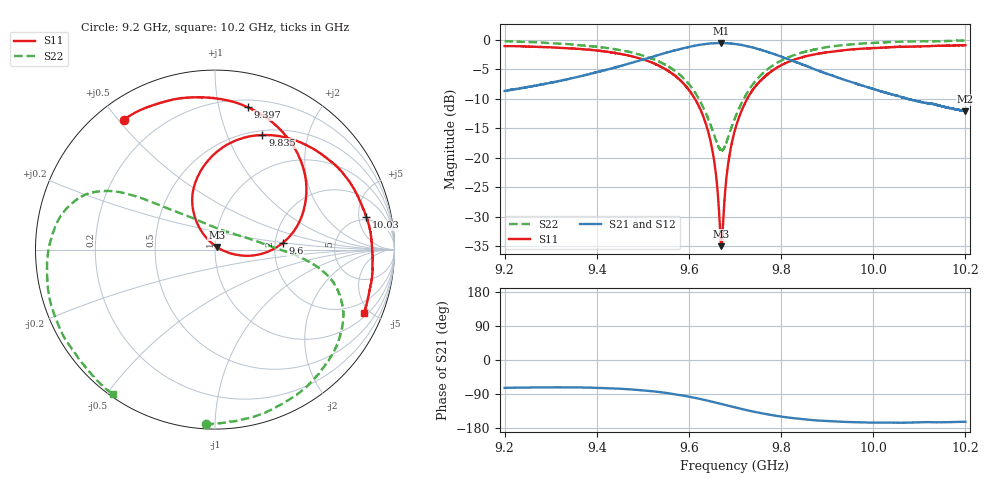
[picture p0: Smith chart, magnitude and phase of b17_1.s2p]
!Agilent Technologies,N5242A,MY51221714,A.09.90.19
!Agilent N5242A: A.09.90.19
!Date: Saturday, December 30, 2023 10:15:58
!Correction: S11(Full 2 Port(1,2))
!S21(Full 2 Port(1,2))
!S12(Full 2 Port(1,2))
!S22(Full 2 Port(1,2))
!S2P File: Measurements: S11, S21, S12, S22:
# Hz S  dB  R 50
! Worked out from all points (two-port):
!   16001 points, 9.2 GHz to 10.2 GHz, reference 50 ohm
!   highest |S21| = -0.54 dB at 9.67 GHz (marker M1); lowest = -12.1 dB at 10.2 GHz (marker M2)
!   |S21| within 3 dB of the highest: 9.491 GHz to 9.824 GHz (332.4 MHz wide, 3.44 % of centre); 9.823893 GHz to 9.824132 GHz (239.2 kHz wide, 0.00243 % of centre)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
!   lowest |S11| = -35.0 dB at 9.671 GHz (marker M3), VSWR 1.04, Z = 50.9 + j1.54 ohm
!   |S11| at or under -10 dB: 9.613 GHz to 9.727 GHz (113.6 MHz wide, 1.18 % of centre)
!   |S22| runs from -18.8 to -0.1 dB; largest |S21 - S12| = 0.014
!   S11 on the Smith chart (normalised r, x): 9.2 GHz: 0.08, +0.52; 9.397 GHz: 0.26, +1.22; 9.6 GHz: 2.20, +0.19; 9.835 GHz: 0.55, +1.34; 10.03 GHz: 4.50, +6.30; 10.2 GHz: 1.24, -4.61
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9.2e9  -1.07 125.2  -8.67 -73.5  -8.64 -74.2  -0.23 -93.0
9.277938e9  -1.21 107.2  -7.63 -72.3  -7.61 -72.9  -0.47 -71.8
9.366688e9  -1.57 85.3  -6.13 -72.5  -6.13 -73.3  -0.95 -49.0
9.396688e9  -1.78 77.1  -5.56 -73.2  -5.54 -74.0  -1.16 -41.4
9.466688e9  -2.62 56.2  -4.10 -77.0  -4.09 -77.7  -1.99 -26.0
9.533375e9  -4.34 33.0  -2.59 -84.2  -2.58 -84.8  -3.63 -13.9
9.599562e9  -8.45 5.5  -1.22 -96.6  -1.21 -97.3  -7.47 -2.9
9.626688e9  -12.11 -6.2  -0.80 -103.5  -0.81 -104.2  -10.78 5.3
9.64575e9  -16.80 -12.9  -0.62 -108.8  -0.63 -109.4  -14.16 18.8
9.65725e9  -21.98 -12.5  -0.57 -112.2  -0.57 -112.8  -16.72 34.3
9.67025e9  -34.91 53.2  -0.54 -116.1  -0.54 -116.6  -18.72 67.8
9.6705e9  -34.98 58.1  -0.55 -116.1  -0.54 -116.7  -18.73 68.9
9.685e9  -21.12 126.7  -0.60 -120.4  -0.58 -121.1  -16.61 107.4
9.7e9  -15.33 124.1  -0.71 -124.9  -0.68 -125.6  -13.24 125.7
9.748562e9  -7.49 102.9  -1.53 -138.3  -1.52 -139.0  -6.62 143.9
9.834562e9  -3.21 67.5  -3.85 -154.6  -3.84 -155.3  -2.42 155.2
9.866688e9  -2.57 56.5  -4.81 -158.5  -4.80 -159.2  -1.74 159.9
9.949938e9  -1.65 32.3  -7.10 -163.8  -7.10 -164.5  -0.81 175.5
1.00315e10  -1.29 12.1  -9.07 -165.4  -9.06 -166.1  -0.40 -166.7
1.003338e10  -1.27 11.6  -9.09 -165.4  -9.08 -166.0  -0.39 -166.2
1.019994e10  -0.91 -23.0  -12.11 -163.1  -12.09 -164.0  -0.12 -125.4
1.02e10  -0.91 -23.0  -12.11 -163.0  -12.09 -163.8  -0.12 -125.3
